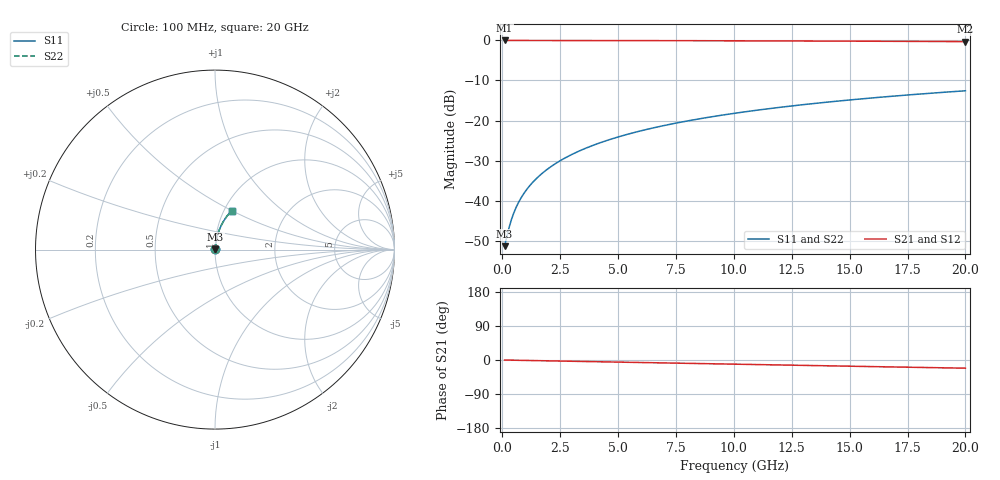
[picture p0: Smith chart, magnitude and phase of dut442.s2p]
! Touchstone file exported from HFSS 2026.1.0
!  File:  C:/ffzhzh/LocalFiles/Ansys_Project_Files/temp_train_BSMRDL_442_1783013123_51716.aedt
!  Generated:  01:26:42 AM Jul  3, 2026
!  Design:  BSMRDL
!  Project:  temp_train_BSMRDL_442_1783013123_51716
! Variables:
!  h_bsmrdl = 2.37um
!  h_ox = 20um
!  h_rdl = 5um
!  h_sub = 80um
!  h_tmrdl = 5um
!  h_tsv = 80um
!  h_via = 3um
!  l_bsmrdl = 262.53um
!  l_sub = 662.53um
!  l_tmrdl = 200um
!  m_sub = 200um
!  pitch = 45.99um
!  r_tsv = 6um
!  s_tmrdl = 10um
!  w_bsmrdl = 19.16um
!  w_sub = 500um
!  w_tmrdl = 12um
!  x_tsv_center1 = 206um
!  x_tsv_center2 = 487.69um
!  x_tsv_center3 = 699.69um
!  x_tsv_center4 = 981.38um
!  x_tsv_center5 = 1193.38um
!  x_tsv_center6 = 1475.07um
# GHz S MA R 50.000000
! Terminal data exported
! Port[1] = BSM_RDL1_1_T1
! Port[2] = BSM_RDL1_1_T2
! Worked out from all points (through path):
!   200 points, 100 MHz to 20 GHz, reference 50 ohm
!   highest |S21| = -0.02 dB at 100 MHz (marker M1); lowest = -0.3 dB at 20 GHz (marker M2)
!   group delay of S21, straight-line fit = 3 ps
!   lowest |S11| = -51.3 dB at 100 MHz (marker M3), VSWR 1.01, Z = 50.2 + j0.136 ohm
!   |S11| at or under -10 dB: start of sweep to end of sweep
!   |S22| runs from -51.3 to -12.6 dB; largest |S21 - S12| = 2.6e-15
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0.1  0.002718 29.8  0.9976 -0.1  0.9976 -0.1  0.002718 29.8
! Gamma 0 0 0 0
! Port Impedance 50 0 50 0
0.3  0.004713 58.2  0.9975 -0.3  0.9975 -0.3  0.004713 58.2
0.4  0.005891 64.2  0.9975 -0.5  0.9975 -0.5  0.005891 64.2
0.5  0.007095 68.0  0.9974 -0.6  0.9974 -0.6  0.007095 68.0
0.6  0.008306 70.7  0.9973 -0.7  0.9973 -0.7  0.008306 70.7
0.8  0.01073 74.2  0.9972 -0.9  0.9972 -0.9  0.01073 74.2
1.1  0.01438 77.2  0.997 -1.2  0.997 -1.2  0.01438 77.2
1.3  0.01682 78.5  0.9969 -1.5  0.9969 -1.5  0.01682 78.5
1.6  0.0205 79.8  0.9968 -1.8  0.9968 -1.8  0.0205 79.8
2.1  0.02666 81.1  0.9966 -2.4  0.9966 -2.4  0.02666 81.1
2.7  0.03407 81.7  0.9963 -3.0  0.9963 -3.0  0.03407 81.7
3.5  0.04396 81.9  0.9958 -3.9  0.9958 -3.9  0.04396 81.9
4.2  0.05261 81.7  0.9953 -4.7  0.9953 -4.7  0.05261 81.7
5  0.06246 81.3  0.9946 -5.6  0.9946 -5.6  0.06246 81.3
5.9  0.07351 80.6  0.9937 -6.6  0.9937 -6.6  0.07351 80.6
6.8  0.0845 79.9  0.9927 -7.5  0.9927 -7.5  0.0845 79.9
8.3  0.1027 78.5  0.9907 -9.2  0.9907 -9.2  0.1027 78.5
10.1  0.1242 76.8  0.9878 -11.2  0.9878 -11.2  0.1242 76.8
11.7  0.143 75.2  0.9849 -12.9  0.9849 -12.9  0.143 75.2
13.4  0.1626 73.5  0.9815 -14.7  0.9815 -14.7  0.1626 73.5
16.7  0.1997 70.1  0.974 -18.2  0.974 -18.2  0.1997 70.1
20  0.2353 66.8  0.9654 -21.6  0.9654 -21.6  0.2353 66.8
